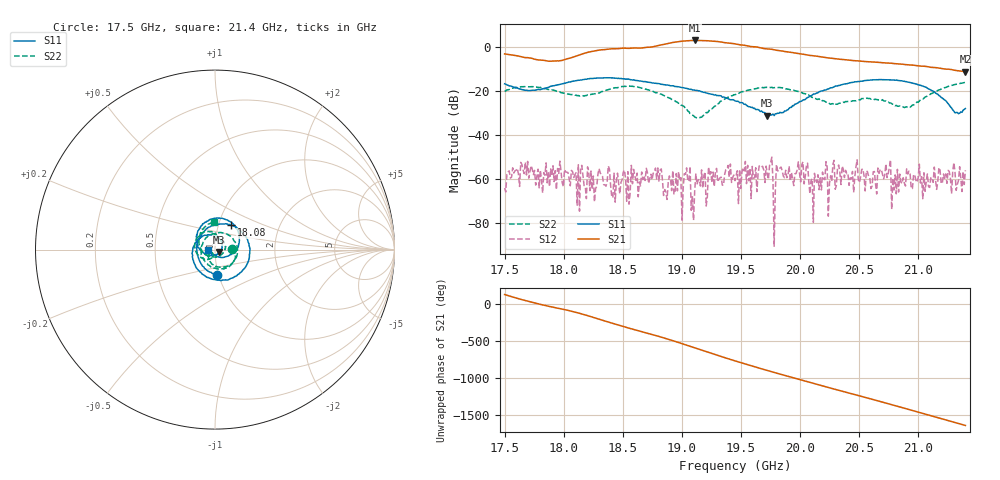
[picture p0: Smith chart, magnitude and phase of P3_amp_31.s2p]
!Created with skrf (http://scikit-rf.org).
# GHz S RI R 50.0
!freq ReS11 ImS11 ReS21 ImS21 ReS12 ImS12 ReS22 ImS22
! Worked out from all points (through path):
!   401 points, 17.5 GHz to 21.4 GHz, reference 50 ohm
!   highest |S21| = 2.82 dB at 19.11 GHz (marker M1); lowest = -11.4 dB at 21.4 GHz (marker M2)
!   group delay of S21, straight-line fit = 1.29 ns
!   lowest |S11| = -31.4 dB at 19.72 GHz (marker M3), VSWR 1.06, Z = 52.4 - j1.37 ohm
!   |S11| at or under -10 dB: start of sweep to end of sweep
!   |S22| runs from -32.5 to -16.2 dB; largest |S21 - S12| = 1.4
!   S11 on the Smith chart (normalised r, x): 17.5 GHz: 0.98, -0.29; 18.08 GHz: 1.15, +0.32; 21.4 GHz: 0.92, -0.00
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17.5  0.00843 -0.1431  -0.445 0.5203  -0.000139 0.000597  0.0968 0.00109
17.74375  -0.1015 0.0168  0.4999 0.1722  -0.000571 0.0011  0.0776 -0.0957
18.07525  0.0896 0.1366  -0.0859 -0.5662  0.00127 0.00068  -0.0751 -0.0324
18.15325  0.1404 0.1046  -0.4569 -0.5028  0.00201 0.000171  -0.075 0.0185
18.2995  0.1941 -0.00418  -0.7717 0.3274  0.00144 -0.000915  -0.00322 0.0881
18.4555  0.1397 -0.1288  0.1382 0.8817  0.000728 -0.00112  0.1055 0.0497
18.62125  0.00979 -0.1698  0.9306 0.0536  0.00102 -0.000871  0.0929 -0.0791
18.8065  -0.1067 -0.0981  0.2352 -1.047  -0.000861 -0.000204  -0.00956 -0.0852
18.99175  -0.1172 0.0208  -1.299 -0.233  -0.00106 5.54e-05  -0.0345 -0.0321
19.10875  -0.0748 0.0703  -0.849 1.092  0.000352 -0.000382  -0.0186 -0.0174
19.1965  -0.0383 0.0836  0.2071 1.352  -0.00107 0.000948  -0.00881 -0.0276
19.30375  0.00265 0.0776  1.181 0.5591  0.000556 0.000645  -0.018 -0.0471
19.45  0.0337 0.0484  0.7643 -0.8688  0.000385 0.000821  -0.064 -0.0498
19.55725  0.0383 0.0225  -0.191 -1.025  0.00194 0.000542  -0.0991 -0.0248
19.723  0.0236 -0.0131  -0.8939 -0.0418  0.000841 -0.000984  -0.1071 0.0525
19.8985  -0.0173 -0.0326  -0.1513 0.7423  0.000375 -0.00112  -0.0403 0.1002
20.10325  -0.0793 -0.00594  0.6154 0.1115  7.64e-05 -0.001  0.0157 0.0683
20.33725  -0.0989 0.0873  -0.00763 -0.5171  -0.00127 -0.000596  0.0134 0.0502
20.542  -0.0324 0.1658  -0.4607 -0.00674  -0.00102 0.000598  0.0365 0.0557
20.7565  0.0857 0.1552  0.0243 0.4218  0.000584 0.0017  0.0527 -0.00402
21.11725  0.0989 -0.0215  0.0833 -0.3275  0.000539 -0.000929  -0.0848 0.0176
21.4  -0.0393 -0.000198  -0.2469 0.1086  -0.00139 -0.000688  -0.00722 0.1549
